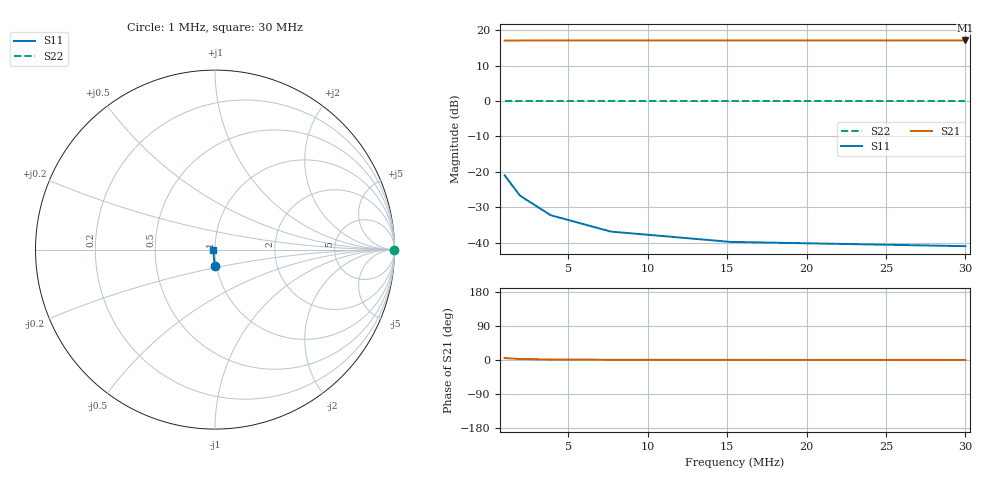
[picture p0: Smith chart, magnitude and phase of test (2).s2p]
# HZ S RI R 50
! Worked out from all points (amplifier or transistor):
!   6 points, 1 MHz to 30 MHz, reference 50 ohm
!   highest |S21| = 17.1 dB at 30 MHz (marker M1)
!   |S21| within 3 dB of that: start of sweep to end of sweep
!   unconditionally stable (mu >= 1): start of sweep to end of sweep
!   at 1.974 MHz: K = 2.99, MAG = 153.1 dB, |S12| = - dB
!   at 7.696 MHz: K = 4.82, MAG = 153.1 dB, |S12| = - dB
!   at 30 MHz: K = 5.11, MAG = 153.1 dB, |S12| = - dB
1000000  -0.000408 -0.0896  7.076 0.6335  -2.55e-16 -9.78e-16  1 6.92e-15
1974350  -0.00637 -0.0456  7.119 0.3228  -3.22e-16 -4.99e-16  1 3.53e-15
3898060  -0.00791 -0.0231  7.129 0.1637  -3.39e-16 -2.53e-16  1 1.79e-15
7696136  -0.00831 -0.0117  7.132 0.083  -3.44e-16 -1.28e-16  1 9.07e-16
1.519487e7  -0.00841 -0.00594  7.133 0.042  -3.45e-16 -6.49e-17  1 4.59e-16
3e7  -0.00843 -0.00301  7.133 0.0213  -3.45e-16 -3.29e-17  1 2.33e-16
